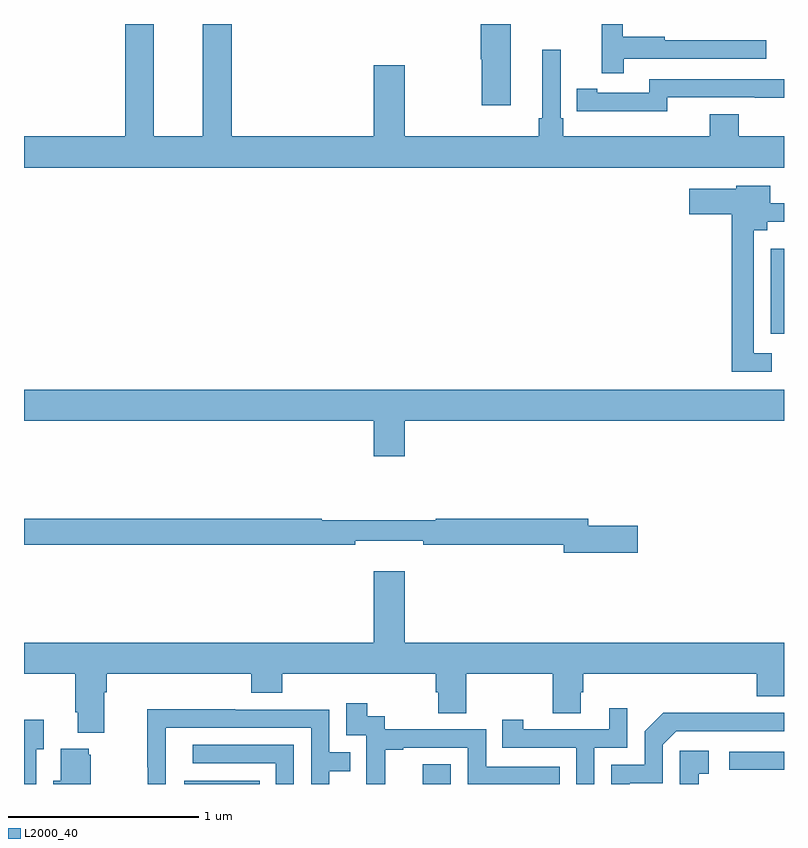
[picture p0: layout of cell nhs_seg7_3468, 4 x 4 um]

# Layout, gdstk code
import gdstk
lib = gdstk.Library(unit=1e-6, precision=1e-09)
def R(c, l, rs):  # rectangles x0, y0, x1, y1
    for r in rs: c.add(gdstk.rectangle(r[:2], r[2:], *l))
def P(c, l, *ps):  # polygons
    for p in ps: c.add(gdstk.Polygon(p, *l))
L2000_40 = (2000, 40)

nhs_seg7_3468 = lib.new_cell('nhs_seg7_3468')
R(nhs_seg7_3468, L2000_40, [(331.844,1036,332.24,1036.018), (333.099,1036,333.246,1036.105), (334.713,1036.074,335,1036.17), (334.931,1038.369,335,1038.817)])
P(nhs_seg7_3468, L2000_40, [(335,1039.408),(334.763,1039.408),(334.763,1039.525),(334.61,1039.525),(334.61,1039.408),(333.839,1039.408),(333.839,1039.504),(333.825,1039.504),(333.825,1039.864),(333.728,1039.864),(333.728,1039.504),(333.709,1039.504),(333.709,1039.408),(333.004,1039.408),(333.004,1039.783),(332.84,1039.783),(332.84,1039.408),(332.093,1039.408),(332.093,1040),(331.94,1040),(331.94,1039.408),(331.684,1039.408),(331.684,1040),(331.532,1040),(331.532,1039.408),(331,1039.408),(331,1039.244),(335,1039.244)],
  [(333.562,1040),(333.404,1040),(333.404,1039.815),(333.409,1039.815),(333.409,1039.572),(333.562,1039.572)],
  [(334.157,1039.818),(334.906,1039.818),(334.906,1039.914),(334.373,1039.914),(334.373,1039.934),(334.15,1039.934),(334.15,1040),(334.04,1040),(334.04,1039.74),(334.157,1039.74)],
  [(334.386,1039.614),(334.846,1039.614),(334.846,1039.613),(335,1039.613),(335,1039.71),(334.29,1039.71),(334.29,1039.638),(334.018,1039.638),(334.018,1039.658),(333.91,1039.658),(333.91,1039.542),(334.018,1039.542),(334.018,1039.541),(334.386,1039.541)],
  [(334.936,1038.267),(334.842,1038.267),(334.842,1038.914),(334.912,1038.914),(334.912,1038.96),(335,1038.96),(335,1039.056),(334.927,1039.056),(334.927,1039.15),(334.749,1039.15),(334.749,1039.132),(334.5,1039.132),(334.5,1038.998),(334.726,1038.998),(334.726,1038.171),(334.936,1038.171)],
  [(331,1037.912),(332.84,1037.912),(332.84,1037.724),(333.004,1037.724),(333.004,1037.912),(335,1037.912),(335,1038.076),(331,1038.076)],
  [(334.231,1037.36),(333.97,1037.36),(333.97,1037.396),(333.166,1037.396),(333.166,1037.389),(332.566,1037.389),(332.566,1037.396),(331,1037.396),(331,1037.26),(332.744,1037.26),(332.744,1037.279),(333.1,1037.279),(333.1,1037.26),(333.842,1037.26),(333.842,1037.218),(334.231,1037.218)],
  [(331.423,1036.484),(331.436,1036.484),(331.436,1036.58),(332.195,1036.58),(332.195,1036.481),(332.36,1036.481),(332.36,1036.58),(333.167,1036.58),(333.167,1036.482),(333.179,1036.482),(333.179,1036.372),(333.327,1036.372),(333.327,1036.58),(333.784,1036.58),(333.784,1036.372),(333.931,1036.372),(333.931,1036.482),(333.944,1036.482),(333.944,1036.58),(334.856,1036.58),(334.856,1036.463),(335,1036.463),(335,1036.744),(333.004,1036.744),(333.004,1037.119),(332.84,1037.119),(332.84,1036.744),(331,1036.744),(331,1036.58),(331.271,1036.58),(331.271,1036.378),(331.283,1036.378),(331.283,1036.271),(331.423,1036.271)],
  [(332.9,1036.179),(332.995,1036.179),(332.995,1036.191),(333.336,1036.191),(333.336,1036),(333.821,1036),(333.821,1036.092),(333.432,1036.092),(333.432,1036.287),(332.898,1036.287),(332.898,1036.356),(332.806,1036.356),(332.806,1036.426),(332.697,1036.426),(332.697,1036.257),(332.802,1036.257),(332.802,1036.028),(332.801,1036.028),(332.801,1036),(332.9,1036)],
  [(334.002,1036.191),(334.176,1036.191),(334.176,1036.399),(334.079,1036.399),(334.079,1036.287),(333.628,1036.287),(333.628,1036.339),(333.517,1036.339),(333.517,1036.191),(333.906,1036.191),(333.906,1036),(334.002,1036)],
  [(331.746,1036.06),(331.747,1036.06),(331.747,1036.296),(332.511,1036.296),(332.511,1036),(332.607,1036),(332.607,1036.066),(332.717,1036.066),(332.717,1036.167),(332.607,1036.167),(332.607,1036.392),(332.111,1036.392),(332.111,1036.394),(331.648,1036.394),(331.648,1036.087),(331.65,1036.087),(331.65,1036),(331.746,1036)],
  [(334.189,1036.005),(334.362,1036.005),(334.362,1036.206),(334.434,1036.278),(335,1036.278),(335,1036.374),(334.772,1036.374),(334.772,1036.376),(334.364,1036.376),(334.266,1036.278),(334.266,1036.101),(334.092,1036.101),(334.092,1036),(334.189,1036)],
  [(331.065,1036.183),(331.105,1036.183),(331.105,1036.339),(331,1036.339),(331,1036),(331.065,1036)],
  [(332.421,1036.206),(331.887,1036.206),(331.887,1036.11),(332.325,1036.11),(332.325,1036),(332.421,1036)],
  [(331.351,1036.155),(331.34,1036.155),(331.34,1036.186),(331.193,1036.186),(331.193,1036.018),(331.154,1036.018),(331.154,1036),(331.351,1036)],
  [(334.55,1036.053),(334.603,1036.053),(334.603,1036.174),(334.452,1036.174),(334.452,1036),(334.55,1036)])

lib.write_gds('nhs_seg7_3468.gds')
